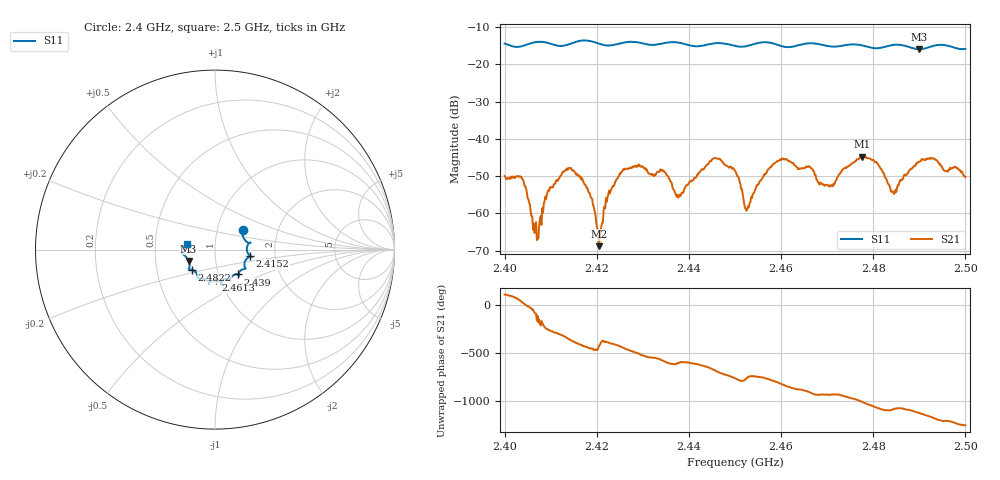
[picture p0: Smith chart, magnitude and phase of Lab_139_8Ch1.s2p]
# Hz S RI R 50
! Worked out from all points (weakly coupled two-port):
!   601 points, 2.4 GHz to 2.5 GHz, reference 50 ohm
!   highest |S21| = -44.74 dB at 2.4777 GHz (marker M1); lowest = -68.8 dB at 2.4205 GHz (marker M2)
!   lowest |S11| = -15.9 dB at 2.49 GHz (marker M3), VSWR 1.38, Z = 36.9 - j4.83 ohm
!   |S11| at or under -10 dB: start of sweep to end of sweep
!   S12 and S22 are empty: the file has one direction only
!   S11 on the Smith chart (normalised r, x): 2.4 GHz: 1.33, +0.31; 2.4152 GHz: 1.48, -0.11; 2.439 GHz: 1.24, -0.36; 2.4613 GHz: 0.96, -0.34; 2.4822 GHz: 0.76, -0.17; 2.5 GHz: 0.73, +0.05
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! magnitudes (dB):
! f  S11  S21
! 2.4 GHz  -14.4  -49.9
! 2.4038 GHz  -15.1  -50.8
! 2.407 GHz  -14.0  -67.2
! 2.4097 GHz  -14.3  -54.0
! 2.4152 GHz  -14.1  -48.8
! 2.4167 GHz  -13.6  -50.9
! 2.4205 GHz  -14.4  -68.8
! 2.4225 GHz  -14.9  -55.0
! 2.4255 GHz  -14.2  -48.7
! 2.4333 GHz  -14.6  -48.7
! 2.439 GHz  -14.5  -53.4
! 2.4455 GHz  -14.3  -45.2
! 2.45 GHz  -15.0  -48.5
! 2.4527 GHz  -15.0  -58.9
! 2.4613 GHz  -15.4  -45.5
! 2.4667 GHz  -14.3  -48.0
! 2.4708 GHz  -15.2  -52.5
! 2.4777 GHz  -14.9  -44.7
! 2.4822 GHz  -15.4  -49.1
! 2.4833 GHz  -15.0  -52.2
! 2.49 GHz  -15.9  -46.1
! 2.5 GHz  -15.8  -50.2
